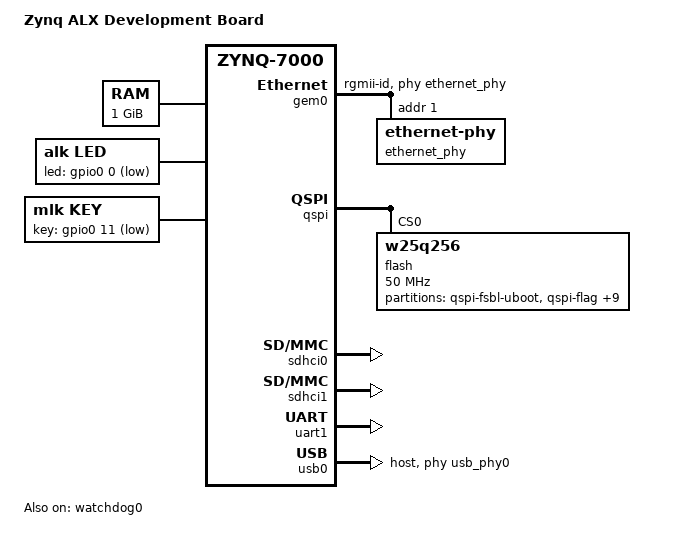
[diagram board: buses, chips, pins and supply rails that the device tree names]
/*
 *  Copyright (C) 2011 - 2014 Xilinx
 *  Copyright (C) 2012 National Instruments Corp.
 *
 * This software is licensed under the terms of the GNU General Public
 * License version 2, as published by the Free Software Foundation, and
 * may be copied, distributed, and modified under those terms.
 *
 * This program is distributed in the hope that it will be useful,
 * but WITHOUT ANY WARRANTY; without even the implied warranty of
 * MERCHANTABILITY or FITNESS FOR A PARTICULAR PURPOSE.  See the
 * GNU General Public License for more details.
 */
#define GPIO_ACTIVE_HIGH 1
#define GPIO_ACTIVE_LOW 0

/dts-v1/;
/include/ "zynq-7000.dtsi"

/ {
	model = "Zynq ALX Development Board";
	compatible = "xlnx,zynq-MZ7X", "xlnx,zynq-7000";

	aliases {
		ethernet0 = &gem0;
		serial0 = &uart1;
		spi0 = &qspi;
		mmc0 = &sdhci0;
		mmc1 = &sdhci1;
	};

	memory@0 {
		device_type = "memory";
		reg = <0x0 0x40000000>;
	};

	chosen {
		bootargs = "";
		stdout-path = "serial0:115200n8";
	};

	usb_phy0: phy0@e0002000 {
		compatible = "ulpi-phy";
		#phy-cells = <0>;
		reg = <0xe0002000 0x1000>;
		view-port = <0x0170>;
		drv-vbus;
	};

	led {
		compatible = "alk,led";
		status = "okay";
		default-state = "on";
		led-gpio = <&gpio0 0 GPIO_ACTIVE_LOW>;
	};

	key {
		compatible = "mlk,key";
		status = "okay";
		key-gpio = <&gpio0 11 GPIO_ACTIVE_LOW>;
	};
};

/ {
	cpus {
		cpu@0 {
			operating-points = <666666 1000000 333333 1000000>;
		};
	};
};

&gem0 {
	status = "okay";
	phy-mode = "rgmii-id";
	phy-handle = <&ethernet_phy>;
	xlnx,ptp-enet-clock = <0x69f6bcb>;
	local-mac-address = [00 0a 35 00 00 00];
	ethernet_phy: ethernet-phy@1 {
		reg = <0x01>;
		device_type = "ethernet-phy";
	};
};

&intc {
	num_cpus = <2>;
	num_interrupts = <96>;
};
&qspi {
	u-boot,dm-pre-reloc;
	status = "okay";
	is-dual = <0>;
	num-cs = <1>;
	flash@0 {
		//set mtdids nor0=nor1
		//set mtdparts mtdparts=nor1:0x1d0000@0(qspi-fsbl-uboot),0x10000@0x1d0000(qspi-flag),0x10000@0x1e0000(qspi-env),0x400000@0x200000(qspi-linux-a),0x10000@0x600000(qspi-devicetree-a),0x400000@0x610000(qspi-linux-b),0x10000@0xa10000(qspi-devicetree-b),0x400000@0xa20000(qspi-bitstream-a),0x400000@0xe20000(qspi-bitstream-b),0x640000@0x1220000(qspi-rootfs-a),0x640000@0x1860000(qspi-rootfs-b)
		compatible = "w25q256";
		reg = <0x0>;
		spi-tx-bus-width = <4>;
		spi-rx-bus-width = <4>;
		spi-max-frequency = <50000000>;
		#address-cells = <1>;
		#size-cells = <1>;
		partition@0 {
			label = "qspi-fsbl-uboot";
			reg = <0x0 0x1D0000>;
		};
		partition@1D0000 {
			label = "qspi-flag";
			reg = <0x1D0000 0x10000>;//64KB
		};
		partition@1E0000 {
			label = "qspi-env";
			reg = <0x1E0000 0x10000>;//64KB
		};
		partition@200000 {
			label = "qspi-linux-a";
			reg = <0x200000 0x400000>;
		};
		partition@600000 {
			label = "qspi-devicetree-a";
			reg = <0x600000 0x10000>;
		};
		partition@610000 {
			label = "qspi-linux-b";
			reg = <0x610000 0x400000>;
		};
		partition@A10000 {
			label = "qspi-devicetree-b";
			reg = <0xA10000 0x10000>;
		};
		partition@A20000 {
			label = "qspi-bitstream-a";
			reg = <0xA20000 0x400000>;
		};
		partition@E20000 {
			label = "qspi-bitstream-b";
			reg = <0xE20000 0x400000>;
		};
		partition@1220000 {
			label = "qspi-rootfs-a";
			reg = <0x1220000 0x640000>;
		};
		partition@1860000 {
			label = "qspi-rootfs-b";
			reg = <0x1860000 0x640000>;
		};
	};
};

&sdhci0 {
	status = "okay";
	xlnx,has-cd = <0x1>;
	xlnx,has-power = <0x0>;
	xlnx,has-wp = <0x0>;
};

&sdhci1 {
	status = "okay";
	xlnx,has-cd = <0x0>;
	xlnx,has-power = <0x0>;
	xlnx,has-wp = <0x0>;
};

&uart1 {
	cts-override ;
	device_type = "serial";
	port-number = <0>;
	status = "okay";
	u-boot,dm-pre-reloc;
};

&clkc {
	fclk-enable = <0x1>;
	ps-clk-frequency = <33333333>;
};

&gpio0 {
	emio-gpio-width = <64>;
	gpio-mask-high = <0x0>;
	gpio-mask-low = <0x5600>;
};

&usb0 {
	status = "okay";
	phy_type = "ulpi";
	dr_mode = "host";
	usb-phy = <&usb_phy0>;
	usb-reset = <&gpio0 8 0>;
};

&watchdog0 {
    status = "okay";
    reset-on-timeout;
    timeout-sec = <60>;
};
